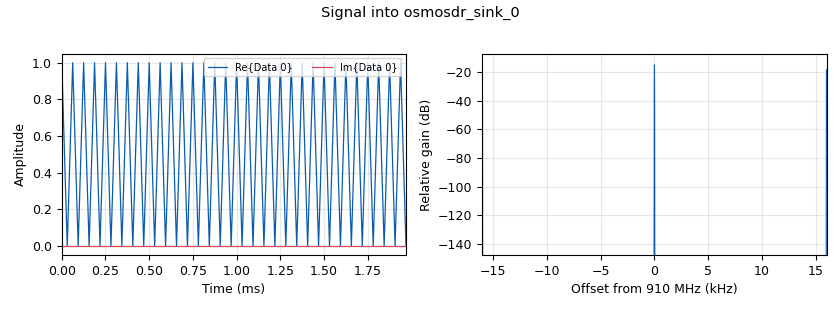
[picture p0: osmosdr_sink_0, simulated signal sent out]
options:
  parameters:
    generate_options: qt_gui
    id: top_block
    output_language: python
  states: {}

blocks:
- name: samp_rate
  id: variable
  parameters:
    value: int(32e3)
  states: {}
- name: blocks_vector_source_x_0
  id: blocks_vector_source_x
  parameters:
    repeat: 'True'
    type: complex
    vector: (1,0)
  states: {}
- name: osmosdr_sink_0
  id: osmosdr_sink
  parameters:
    args: ''
    bb_gain0: '20'
    freq0: 910e6
    gain0: '20'
    if_gain0: '20'
    sample_rate: samp_rate
    sync: sync
    type: fc32
  states: {}

connections:
- [blocks_vector_source_x_0, '0', osmosdr_sink_0, '0']

metadata:
  file_format: 1
